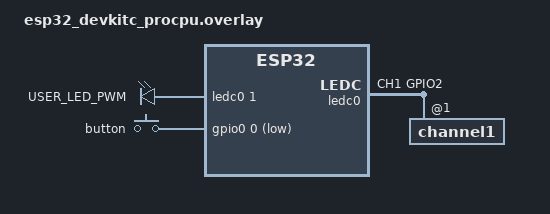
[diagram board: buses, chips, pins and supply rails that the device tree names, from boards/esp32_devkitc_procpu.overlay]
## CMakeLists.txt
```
cmake_minimum_required(VERSION 3.20.0)
find_package(Zephyr REQUIRED HINTS $ENV{ZEPHYR_BASE})
project(base_sample)

target_sources(app PRIVATE src/main.c src/wifi_connect.c)
```

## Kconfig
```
source "Kconfig.zephyr"

menu "Hello Timer Configuration"

config SNTP_HOSTNAME
  string "Hostname for SNTP Server"
  help
    Sets the SNTP Server Hostname

config WIFI_SSID
  string "SSID Wi-Fi connection"
  help
    Sets WiFi SSID

config WIFI_PASSWD
  string "Password Wi-Fi connection"
    help
      Sets WiFi password

config LOCAL_TIME
  int "Locale time converter offset"
  default 0
    help
      Sets Locale time converter like: -3 or +3

endmenu
```

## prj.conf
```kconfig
CONFIG_QEMU_ICOUNT=n

CONFIG_LOG=y
CONFIG_LOG_BACKEND_UART=y
CONFIG_LOG_PRINTK=y

CONFIG_ASSERT=y

CONFIG_LOG_DEFAULT_LEVEL=3
CONFIG_KERNEL_LOG_LEVEL_INF=y
CONFIG_UART_CONSOLE=y

CONFIG_TEST_RANDOM_GENERATOR=y

CONFIG_ZBUS=y
CONFIG_SNTP=y

# Network basic configs
CONFIG_NETWORKING=y
CONFIG_NET_IPV4=y
CONFIG_NET_DHCPV4=y
CONFIG_NET_SOCKETS=y
CONFIG_DNS_RESOLVER=y

# Wi-Fi
CONFIG_WIFI=y
CONFIG_NET_L2_WIFI_MGMT=y
CONFIG_WIFI_ESP32=y

CONFIG_WIFI_SSID="IC-ALUNOS"
CONFIG_WIFI_PASSWD="icomputacaoufal"
CONFIG_SNTP_HOSTNAME="pool.ntp.org"
CONFIG_LOCAL_TIME=-3

# Network buffer
CONFIG_HEAP_MEM_POOL_SIZE=65536
```

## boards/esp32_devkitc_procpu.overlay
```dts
#include <zephyr/dt-bindings/pinctrl/esp32-pinctrl.h>
#include <zephyr/dt-bindings/pwm/pwm.h>

/ {
	aliases {
		led0 = &user_led_pwm;
		button0 = &button0;
	};

	pwmleds {
		compatible = "pwm-leds";

		user_led_pwm: led0 {
        pwms = <&ledc0 1 200000 PWM_POLARITY_INVERTED>;
			label = "USER_LED_PWM";
		};
	};

	gpio_keys: buttons {
		compatible = "gpio-keys";

		button0: button_0 {
			gpios = <&gpio0 0 GPIO_ACTIVE_LOW>;
			label = "button";
		};
	};
};

&ledc0 {
    status = "okay";

    pinctrl-names = "default";
    pinctrl-0 = <&ledc0_custom>;

    #address-cells = <1>;
    #size-cells = <0>;

    channel1@1 {
        reg = <0x1>;
        timer = <0>;
        status = "okay";
    };
};

&pinctrl {
    ledc0_custom: ledc0_custom {
        group1 {
            pinmux = <LEDC_CH1_GPIO2>;
            output-enable;
        };
    };
};
```

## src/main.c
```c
#include <zephyr/device.h>
#include <zephyr/devicetree.h>
#include <zephyr/drivers/gpio.h>
#include <zephyr/drivers/pwm.h>
#include <zephyr/kernel.h>
#include <zephyr/logging/log.h>

LOG_MODULE_REGISTER(hello_world);

#define FADE_STEPS 50

enum MODE {
	BLINK = 0,
	FADE
};

static const struct gpio_dt_spec button = GPIO_DT_SPEC_GET(DT_NODELABEL(button0), gpios);
static const struct pwm_dt_spec led = PWM_DT_SPEC_GET(DT_ALIAS(led0));
static struct gpio_callback cb_data;

static struct k_timer blink_timer;
static struct k_work blink_work;

static struct k_work_delayable fade_work;
static int32_t fade_bright;
static int8_t fade_dir;
static int32_t fade_step_ns;

static volatile bool led_status;
static volatile enum MODE current_mode;

K_MUTEX_DEFINE(pwm_lock);

static void blink_work_handler(struct k_work *work)
{
	if (current_mode != BLINK) {
		return;
	}

	k_mutex_lock(&pwm_lock, K_FOREVER);

	if (led_status) {
		LOG_DBG("Aceso!");
		pwm_set_pulse_dt(&led, led.period);
	} else {
		LOG_DBG("Apagado!");
		pwm_set_pulse_dt(&led, 0);
	}
	k_mutex_unlock(&pwm_lock);
}

static void blink_timer_isr(struct k_timer *timer_id)
{
	if (current_mode != BLINK) {
		return;
	}
	led_status = !led_status;
	k_work_submit(&blink_work);
}

static void fade_work_handler(struct k_work *work)
{
	if (current_mode != FADE) {
		return;
	}

	int32_t b = fade_bright + fade_dir * fade_step_ns;
	if (b < 0) {
		b = 0;
	}
	if (b > (int32_t)led.period) {
		b = (int32_t)led.period;
	}

	k_mutex_lock(&pwm_lock, K_FOREVER);
	pwm_set_pulse_dt(&led, (uint32_t)b);
	k_mutex_unlock(&pwm_lock);

	fade_bright = b;

	static int32_t step = 0;
	LOG_DBG("PWM Bright: %d%%", (fade_bright * 100) / led.period);

	if (++step >= FADE_STEPS) {
		step = 0;
		fade_dir = -fade_dir;
	}

	k_work_reschedule(&fade_work, K_MSEC(20));
}

static void fade_start(void)
{
	fade_bright = 0;
	fade_dir = 1;
	fade_step_ns = led.period / FADE_STEPS;
	k_work_init_delayable(&fade_work, fade_work_handler);
	k_work_schedule(&fade_work, K_NO_WAIT);
}

static void fade_stop(void)
{
	k_work_cancel_delayable(&fade_work);
}

static void button_cb(const struct device *dev, struct gpio_callback *cb, uint32_t pins)
{
	static enum MODE mode;
	switch (mode) {
	case BLINK:
		k_timer_stop(&blink_timer);
		current_mode = FADE;
		fade_start();
		LOG_INF("BLINK -> FADE\n");
		break;
	case FADE:
		fade_stop();
		current_mode = BLINK;
		k_timer_start(&blink_timer, K_NO_WAIT, K_MSEC(CONFIG_BLINK_TIMER_INTERVAL));
		LOG_INF("FADE -> BLINK\n");
		break;
	}
	mode = !mode;
}

int main(void)
{
	int ret;

	LOG_INF("Starting system....\n");

	if (!gpio_is_ready_dt(&button)) {
		return 0;
	}
	if (!pwm_is_ready_dt(&led)) {
		return 0;
	}

	k_work_init(&blink_work, blink_work_handler);
	k_timer_init(&blink_timer, blink_timer_isr, NULL);

	ret = gpio_pin_configure_dt(&button, GPIO_INPUT);
	if (ret) {
		return 0;
	}

	gpio_init_callback(&cb_data, button_cb, BIT(button.pin));
	gpio_add_callback(button.port, &cb_data);

	ret = gpio_pin_interrupt_configure_dt(&button, GPIO_INT_EDGE_TO_ACTIVE);
	if (ret) {
		return 0;
	}

	current_mode = BLINK;
	led_status = false;
	k_timer_start(&blink_timer, K_SECONDS(1), K_MSEC(CONFIG_BLINK_TIMER_INTERVAL));

	LOG_INF("Starting blink....\n");
	LOG_INF("Press button to toggle mode anytime!\n");

	while (1) {
		k_sleep(K_MSEC(50));
	}
}
```

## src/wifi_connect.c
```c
#include <string.h>
#include <zephyr/kernel.h>
#include <zephyr/logging/log.h>
#include <zephyr/net/dns_resolve.h>
#include <zephyr/net/net_event.h>
#include <zephyr/net/net_if.h>
#include <zephyr/net/socket.h>
#include <zephyr/net/wifi_mgmt.h>

static struct k_sem got_ip_sem;
static struct net_mgmt_event_callback ip_cb;
bool is_wifi_connected = false;

LOG_MODULE_REGISTER(wifi, LOG_LEVEL_INF);

static void ip_event_handler(struct net_mgmt_event_callback *cb, uint64_t mgmt_event,
			     struct net_if *iface)
{
	if (mgmt_event == NET_EVENT_IPV4_ADDR_ADD) {
		char ip[NET_IPV4_ADDR_LEN];
		const struct net_if_config *cfg = net_if_get_config(iface);

		if (cfg && cfg->ip.ipv4) {
			net_addr_ntop(AF_INET, &cfg->ip.ipv4->unicast[0].ipv4.address.in_addr, ip,
				      sizeof(ip));
			LOG_INF("DHCP OK: %s", ip);
			k_sem_give(&got_ip_sem);
		}
	}
}

static int wifi_connect_now(const char *ssid, const char *psk)
{
	struct net_if *iface = net_if_get_default();
	struct wifi_connect_req_params p = {0};

	p.ssid = ssid;
	p.ssid_length = strlen(ssid);
	p.psk = psk;
	p.psk_length = strlen(psk);
	p.security = WIFI_SECURITY_TYPE_PSK;
	p.channel = WIFI_CHANNEL_ANY;

	int ret = net_mgmt(NET_REQUEST_WIFI_CONNECT, iface, &p, sizeof(p));
	if (ret) {
		LOG_ERR("Failed NET_REQUEST_WIFI_CONNECT (%d)", ret);
		return ret;
	}

	LOG_INF("Connecting on AP \"%s\" ...", ssid);
	return 0;
}

int app_auto_init(void)
{
	LOG_INF("Starting Wi-Fi Connect");

	k_sem_init(&got_ip_sem, 0, 1);
	net_mgmt_init_event_callback(&ip_cb, ip_event_handler, NET_EVENT_IPV4_ADDR_ADD);
	net_mgmt_add_event_callback(&ip_cb);

	if (wifi_connect_now(CONFIG_WIFI_SSID, CONFIG_WIFI_PASSWD) != 0) {
		return -EIO;
	}

	if (k_sem_take(&got_ip_sem, K_SECONDS(30)) != 0) {
		LOG_ERR("DHCP Timeout");
		return -ETIMEDOUT;
	}

	struct zsock_addrinfo hints = {0}, *res = NULL;
	hints.ai_family = AF_INET;
	hints.ai_socktype = SOCK_STREAM;

	char *hostname_test = "google.com";

	int ret = zsock_getaddrinfo(hostname_test, "80", &hints, &res);
	if (ret) {
		LOG_ERR("DNS failed (%d)", ret);

		return -1;
	} else {
		char ipbuf[NET_IPV4_ADDR_LEN];
		struct sockaddr_in *a = (struct sockaddr_in *)res->ai_addr;

		net_addr_ntop(AF_INET, &a->sin_addr, ipbuf, sizeof(ipbuf));

		LOG_INF("DNS OK: %s -> %s", ipbuf, hostname_test);
		zsock_freeaddrinfo(res);
	}

	is_wifi_connected = true;

	return 0;
}
```
